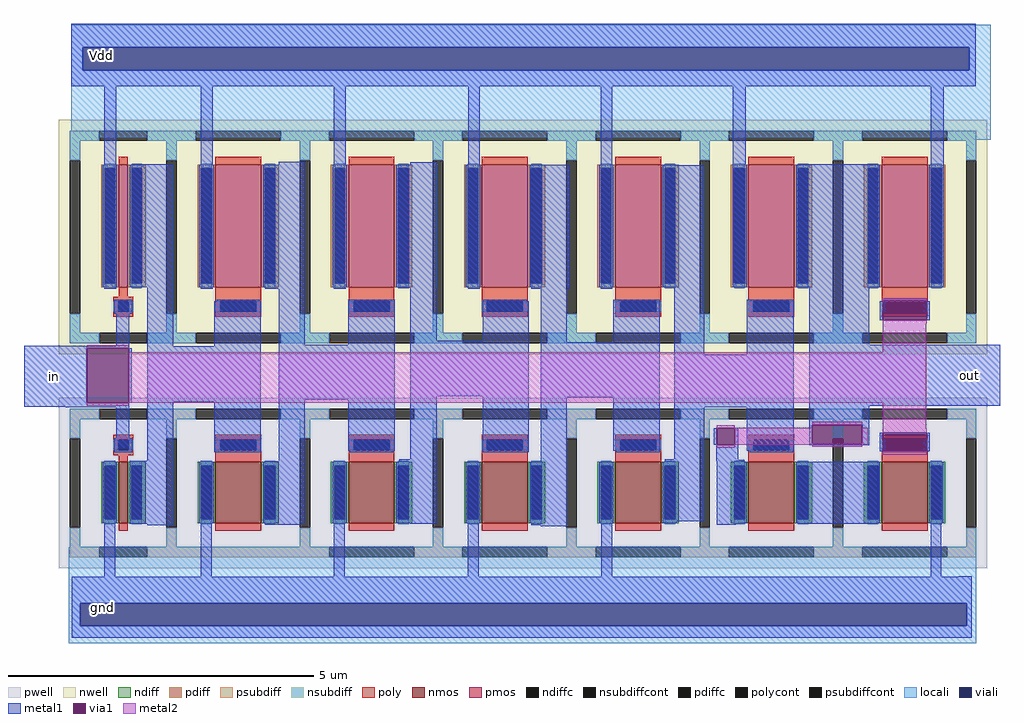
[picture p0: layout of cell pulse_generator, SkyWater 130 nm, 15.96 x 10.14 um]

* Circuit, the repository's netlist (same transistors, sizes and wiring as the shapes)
* NGSPICE file created from pulse_generator.ext - technology: sky130A

.subckt sky130_fd_pr__nfet_01v8_3M8PRF B D S G
X0 S G D B sky130_fd_pr__nfet_01v8 ad=0.29 pd=2.58 as=0.29 ps=2.58 w=1 l=0.75
.ends

.subckt sky130_fd_pr__pfet_01v8_6ME4C9 B D S G
X0 S G D B sky130_fd_pr__pfet_01v8 ad=0.58 pd=4.58 as=0.58 ps=4.58 w=2 l=0.75
.ends

.subckt sky130_fd_pr__nfet_01v8_2RKAFH B D S G
X0 S G D B sky130_fd_pr__nfet_01v8 ad=0.29 pd=2.58 as=0.29 ps=2.58 w=1 l=0.15
.ends

.subckt sky130_fd_pr__pfet_01v8_3KTXK9 B D S G
X0 S G D B sky130_fd_pr__pfet_01v8 ad=0.58 pd=4.58 as=0.58 ps=4.58 w=2 l=0.15
.ends

.subckt sky130_fd_pr__nfet_01v8_E9XCMH B D S G
X0 S G D B sky130_fd_pr__nfet_01v8 ad=0.29 pd=2.58 as=0.29 ps=2.58 w=1 l=0.75
.ends

.subckt pulse_generator Vdd out in gnd
XXM13 gnd out XM13/S XM9/S sky130_fd_pr__nfet_01v8_3M8PRF
Xsky130_fd_pr__pfet_01v8_6ME4C9_0 Vdd out Vdd in sky130_fd_pr__pfet_01v8_6ME4C9
Xsky130_fd_pr__nfet_01v8_3M8PRF_0 gnd XM13/S gnd in sky130_fd_pr__nfet_01v8_3M8PRF
XXM1 gnd gnd XM4/G in sky130_fd_pr__nfet_01v8_2RKAFH
XXM2 Vdd Vdd XM4/G in sky130_fd_pr__pfet_01v8_3KTXK9
XXM3 gnd gnd XM6/G XM4/G sky130_fd_pr__nfet_01v8_E9XCMH
XXM4 Vdd Vdd XM6/G XM4/G sky130_fd_pr__pfet_01v8_6ME4C9
XXM5 gnd gnd XM8/G XM6/G sky130_fd_pr__nfet_01v8_3M8PRF
XXM6 Vdd Vdd XM8/G XM6/G sky130_fd_pr__pfet_01v8_6ME4C9
XXM7 gnd gnd XM9/G XM8/G sky130_fd_pr__nfet_01v8_3M8PRF
XXM9 gnd gnd XM9/S XM9/G sky130_fd_pr__nfet_01v8_3M8PRF
XXM8 Vdd Vdd XM9/G XM8/G sky130_fd_pr__pfet_01v8_6ME4C9
XXM10 Vdd Vdd XM9/S XM9/G sky130_fd_pr__pfet_01v8_6ME4C9
XXM11 Vdd Vdd out XM9/S sky130_fd_pr__pfet_01v8_6ME4C9
.ends

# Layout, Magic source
magic
tech sky130A
magscale 1 2
<< pwell >>
rect 1289 -1846 1290 -1820
<< locali >>
rect 1041 -496 4048 -422
rect 1041 -570 1078 -496
rect 3978 -570 4048 -496
rect 1041 -790 4048 -570
rect 3964 -798 4048 -790
rect 3969 -2131 4002 -2124
rect 1033 -2314 4002 -2131
rect 1033 -2388 1070 -2314
rect 3970 -2388 4002 -2314
rect 1033 -2446 4002 -2388
<< viali >>
rect 1078 -570 3978 -496
rect 1070 -2388 3970 -2314
<< metal1 >>
rect 1040 -496 4000 -418
rect 1040 -570 1078 -496
rect 3978 -570 4000 -496
rect 1040 -623 4000 -570
rect 1149 -1285 1187 -623
rect 1238 -1281 1375 -878
rect 886 -1474 1086 -1472
rect 1188 -1474 1231 -1324
rect 886 -1480 1231 -1474
rect 1289 -1474 1375 -1281
rect 1465 -1286 1503 -623
rect 1719 -880 1805 -870
rect 1706 -882 1805 -880
rect 1675 -1285 1805 -882
rect 1900 -1285 1938 -623
rect 2150 -880 2236 -872
rect 2111 -1283 2238 -880
rect 1509 -1474 1661 -1326
rect 886 -1658 1091 -1480
rect 1229 -1658 1239 -1480
rect 1289 -1655 1661 -1474
rect 886 -1672 1231 -1658
rect 1022 -1674 1231 -1672
rect 1188 -1807 1231 -1674
rect 1289 -1848 1375 -1655
rect 1509 -1820 1661 -1655
rect 1719 -1468 1805 -1285
rect 1947 -1468 2099 -1322
rect 1719 -1649 2099 -1468
rect 1148 -2227 1184 -1848
rect 1232 -2054 1375 -1848
rect 1289 -2060 1375 -2054
rect 1465 -2227 1501 -1848
rect 1719 -1850 1805 -1649
rect 1947 -1816 2099 -1649
rect 2150 -1456 2236 -1283
rect 2339 -1285 2377 -623
rect 2576 -882 2662 -880
rect 2545 -1285 2672 -882
rect 2773 -1285 2811 -623
rect 3013 -887 3111 -881
rect 2984 -1280 3111 -887
rect 3205 -1280 3248 -623
rect 3417 -1278 3680 -878
rect 3852 -1276 3895 -623
rect 2386 -1456 2538 -1326
rect 2150 -1637 2538 -1456
rect 2150 -1844 2236 -1637
rect 2386 -1820 2538 -1637
rect 2576 -1460 2662 -1285
rect 2814 -1460 2966 -1322
rect 2576 -1641 2966 -1460
rect 1675 -2052 1805 -1850
rect 1675 -2058 1792 -2052
rect 1900 -2227 1936 -1848
rect 2113 -2052 2236 -1844
rect 2576 -1852 2662 -1641
rect 2814 -1816 2966 -1641
rect 3013 -1501 3111 -1280
rect 3250 -1501 3404 -1322
rect 3013 -1673 3404 -1501
rect 3013 -1843 3111 -1673
rect 3150 -1742 3222 -1740
rect 3143 -1796 3153 -1742
rect 3211 -1796 3222 -1742
rect 2150 -2054 2236 -2052
rect 2338 -2227 2374 -1852
rect 2545 -2060 2662 -1852
rect 2576 -2062 2662 -2060
rect 2774 -2227 2810 -1856
rect 2982 -2046 3111 -1843
rect 3150 -1845 3222 -1796
rect 3250 -1816 3404 -1673
rect 3455 -1468 3652 -1278
rect 3685 -1388 3695 -1326
rect 3839 -1388 3849 -1326
rect 3455 -1668 4079 -1468
rect 3455 -1730 3652 -1668
rect 3455 -1792 3465 -1730
rect 3629 -1792 3652 -1730
rect 3455 -1798 3652 -1792
rect 3685 -1818 3695 -1756
rect 3839 -1818 3849 -1756
rect 3150 -1848 3243 -1845
rect 3152 -2050 3243 -1848
rect 3152 -2056 3229 -2050
rect 3419 -2055 3678 -1851
rect 3152 -2058 3215 -2056
rect 3852 -2227 3886 -1849
rect 3944 -2227 3987 -2226
rect 1042 -2314 3987 -2227
rect 1042 -2388 1070 -2314
rect 3970 -2388 3987 -2314
rect 1042 -2428 3987 -2388
<< via1 >>
rect 1091 -1658 1229 -1480
rect 3153 -1796 3211 -1742
rect 3695 -1388 3839 -1326
rect 3465 -1792 3629 -1730
rect 3695 -1818 3839 -1756
<< metal2 >>
rect 3695 -1326 3839 -1316
rect 3695 -1398 3839 -1388
rect 1091 -1480 1229 -1470
rect 3695 -1494 3837 -1398
rect 1229 -1658 3837 -1494
rect 1091 -1668 1229 -1658
rect 3465 -1730 3629 -1720
rect 3153 -1740 3211 -1732
rect 3153 -1742 3465 -1740
rect 3211 -1792 3465 -1742
rect 3629 -1792 3647 -1740
rect 3211 -1796 3647 -1792
rect 3695 -1746 3837 -1658
rect 3695 -1756 3839 -1746
rect 3153 -1806 3211 -1796
rect 3465 -1802 3629 -1796
rect 3695 -1828 3839 -1818
use sky130_fd_pr__nfet_01v8_3M8PRF  sky130_fd_pr__nfet_01v8_3M8PRF_0
transform 1 0 3767 0 1 -1921
box -271 -279 271 279
use sky130_fd_pr__pfet_01v8_6ME4C9  sky130_fd_pr__pfet_01v8_6ME4C9_0
transform 1 0 3767 0 1 -1116
box -271 -384 271 384
use sky130_fd_pr__nfet_01v8_2RKAFH  XM1
transform 1 0 1211 0 1 -1921
box -211 -279 211 279
use sky130_fd_pr__pfet_01v8_3KTXK9  XM2
transform 1 0 1211 0 1 -1116
box -211 -384 211 384
use sky130_fd_pr__nfet_01v8_E9XCMH  XM3
transform 1 0 1587 0 1 -1921
box -271 -279 271 279
use sky130_fd_pr__pfet_01v8_6ME4C9  XM4
transform 1 0 1587 0 1 -1116
box -271 -384 271 384
use sky130_fd_pr__nfet_01v8_3M8PRF  XM5
transform 1 0 2023 0 1 -1921
box -271 -279 271 279
use sky130_fd_pr__pfet_01v8_6ME4C9  XM6
transform 1 0 2023 0 1 -1116
box -271 -384 271 384
use sky130_fd_pr__nfet_01v8_3M8PRF  XM7
transform 1 0 2459 0 1 -1921
box -271 -279 271 279
use sky130_fd_pr__pfet_01v8_6ME4C9  XM8
transform 1 0 2459 0 1 -1116
box -271 -384 271 384
use sky130_fd_pr__nfet_01v8_3M8PRF  XM9
transform 1 0 2895 0 1 -1921
box -271 -279 271 279
use sky130_fd_pr__pfet_01v8_6ME4C9  XM10
transform 1 0 2895 0 1 -1116
box -271 -384 271 384
use sky130_fd_pr__pfet_01v8_6ME4C9  XM11
transform 1 0 3331 0 1 -1116
box -271 -384 271 384
use sky130_fd_pr__nfet_01v8_3M8PRF  XM13
transform 1 0 3331 0 1 -1921
box -271 -279 271 279
<< labels >>
flabel metal1 1040 -623 1240 -423 0 FreeSans 256 0 0 0 Vdd
port 0 nsew
flabel metal1 1042 -2428 1242 -2228 0 FreeSans 256 0 0 0 gnd
port 3 nsew
flabel metal1 886 -1672 1086 -1472 0 FreeSans 256 0 0 0 in
port 2 nsew
flabel metal1 3879 -1668 4079 -1468 0 FreeSans 256 0 0 0 out
port 1 nsew
<< end >>

# cell sky130_fd_pr__nfet_01v8_3M8PRF: kit device sky130_fd_pr__nfet_01v8, w 1.0 l 0.75 m 1 nf 1 diffcov 100 polycov 100 guard 1 glc 1 grc 1 gtc 1 gbc 1 tbcov 100 rlcov 100 topc 1 botc 0 poverlap 0 doverlap 1 lmin 0.15 wmin 0.42 class mosfet compatible {sky130_fd_pr__nfet_01v8 sky130_fd_pr__nfet_01v8_lvt sky130_fd_bs_flash__special_sonosfet_star sky130_fd_pr__nfet_g5v0d10v5 sky130_fd_pr__nfet_05v0_nvt sky130_fd_pr__nfet_03v3_nvt} full_metal 1 viasrc 100 viadrn 100 viagate 100 viagb 0 viagr 0 viagl 0 viagt 0 doports 1

# cell sky130_fd_pr__pfet_01v8_6ME4C9: kit device sky130_fd_pr__pfet_01v8, w 2.0 l 0.75 m 1 nf 1 diffcov 100 polycov 100 guard 1 glc 1 grc 1 gtc 1 gbc 1 tbcov 100 rlcov 100 topc 0 botc 1 poverlap 0 doverlap 1 lmin 0.15 wmin 0.42 class mosfet compatible {sky130_fd_pr__pfet_01v8 sky130_fd_pr__pfet_01v8_lvt sky130_fd_pr__pfet_01v8_hvt sky130_fd_pr__pfet_g5v0d10v5} full_metal 1 viasrc 100 viadrn 100 viagate 100 viagb 0 viagr 0 viagl 0 viagt 0 doports 1

# cell sky130_fd_pr__nfet_01v8_2RKAFH: kit device sky130_fd_pr__nfet_01v8, w 1.0 l 0.15 m 1 nf 1 diffcov 100 polycov 100 guard 1 glc 1 grc 1 gtc 1 gbc 1 tbcov 100 rlcov 100 topc 1 botc 0 poverlap 0 doverlap 1 lmin 0.15 wmin 0.42 class mosfet compatible {sky130_fd_pr__nfet_01v8 sky130_fd_pr__nfet_01v8_lvt sky130_fd_bs_flash__special_sonosfet_star sky130_fd_pr__nfet_g5v0d10v5 sky130_fd_pr__nfet_05v0_nvt sky130_fd_pr__nfet_03v3_nvt} full_metal 1 viasrc 100 viadrn 100 viagate 100 viagb 0 viagr 0 viagl 0 viagt 0 doports 1

# cell sky130_fd_pr__pfet_01v8_3KTXK9: kit device sky130_fd_pr__pfet_01v8, w 2.0 l 0.15 m 1 nf 1 diffcov 100 polycov 100 guard 1 glc 1 grc 1 gtc 1 gbc 1 tbcov 100 rlcov 100 topc 0 botc 1 poverlap 0 doverlap 1 lmin 0.15 wmin 0.42 class mosfet compatible {sky130_fd_pr__pfet_01v8 sky130_fd_pr__pfet_01v8_lvt sky130_fd_pr__pfet_01v8_hvt sky130_fd_pr__pfet_g5v0d10v5} full_metal 1 viasrc 100 viadrn 100 viagate 100 viagb 0 viagr 0 viagl 0 viagt 0 doports 1

# cell sky130_fd_pr__nfet_01v8_E9XCMH: kit device sky130_fd_pr__nfet_01v8, w 1.0 l 0.75 m 1 nf 1 diffcov 100 polycov 100 guard 1 glc 1 grc 1 gtc 1 gbc 0 tbcov 100 rlcov 100 topc 1 botc 0 poverlap 0 doverlap 1 lmin 0.15 wmin 0.42 class mosfet compatible {sky130_fd_pr__nfet_01v8 sky130_fd_pr__nfet_01v8_lvt sky130_fd_bs_flash__special_sonosfet_star sky130_fd_pr__nfet_g5v0d10v5 sky130_fd_pr__nfet_05v0_nvt sky130_fd_pr__nfet_03v3_nvt} full_metal 1 viasrc 100 viadrn 100 viagate 100 viagb 0 viagr 0 viagl 0 viagt 0 doports 1
